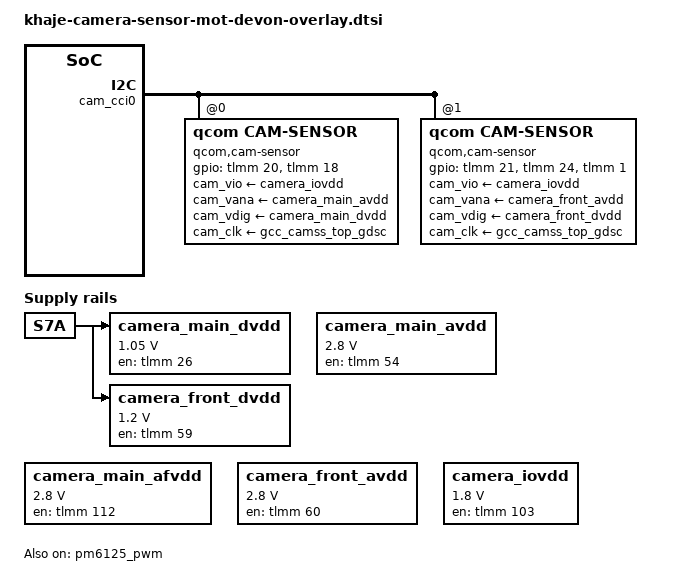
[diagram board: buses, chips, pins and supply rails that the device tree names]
#include <dt-bindings/clock/qcom,gcc-khaje.h>
#include <dt-bindings/msm/msm-camera.h>

&tlmm {
	cam_sensor_mclk0_active: cam_sensor_mclk0_active {
		/* MCLK 0*/
		mux {
			pins = "gpio20";
			function = "cam_mclk";
		};

		config {
			pins = "gpio20";
			bias-disable;
			drive-strength = <2>;
		};
	};

	cam_sensor_mclk0_suspend: cam_sensor_mclk0_suspend {
		/* MCLK 0*/
		mux {
			pins = "gpio20";
			function = "cam_mclk";
		};

		config {
			pins = "gpio20";
			bias-pull-down;
			drive-strength = <2>;
		};
	};

	cam_sensor_mclk1_active: cam_sensor_mclk1_active {
		mux {
			pins = "gpio21";
			function = "cam_mclk";
		};

		config {
			pins = "gpio21";
			bias-disable; /* No PULL */
			drive-strength = <2>; /* 2 MA */
		};
	};

	cam_sensor_mclk1_suspend: cam_sensor_mclk1_suspend {
		mux {
			pins = "gpio21";
			function = "cam_mclk";
		};

		config {
			pins = "gpio21";
			bias-pull-down;
			drive-strength = <2>; /* 2 MA */
		};
	};

	cam_sensor_rear0_reset_active: cam_sensor_rear0_reset_active {
		mux {
			pins = "gpio18";
			function = "gpio";
		};

		config {
			pins = "gpio18";
			bias-disable; /* No PULL */
			drive-strength = <2>;
		};
	};

	cam_sensor_rear0_reset_suspend: cam_sensor_rear0_reset_suspend {
		mux {
			pins = "gpio18";
			function = "gpio";
		};

		config {
			pins = "gpio18";
			bias-pull-down; /* PULL DOWN */
			drive-strength = <2>;
			output-low;
		};
	};

	cam_sensor_front_reset_active: cam_sensor_front_reset_active {
		mux {
			pins = "gpio24" , "gpio1";
			function = "gpio";
		};

		config {
			pins = "gpio24" , "gpio1";
			bias-disable; /* No PULL */
			drive-strength = <2>;
		};
	};

	cam_sensor_front_reset_suspend: cam_sensor_front_reset_suspend {
		mux {
			pins = "gpio24" , "gpio1";
			function = "gpio";
		};

		config {
			pins = "gpio24" , "gpio1";
			bias-pull-down; /* PULL DOWN */
			drive-strength = <2>;
			output-low;
		};
	};

	cam_main_avdd_active: cam_main_avdd_active {
		/* MAIN AVDD EN */
		mux {
			pins = "gpio54";
			function = "gpio";
		};

		config {
			pins = "gpio54";
			bias-disable; /* No PULL */
			drive-strength = <2>; /* 2 MA */
		};
	};

	cam_main_avdd_suspend: cam_main_avdd_suspend {
		mux {
			pins = "gpio54";
			function = "gpio";
		};

		config {
			pins = "gpio54";
			bias-pull-down; /* PULL DOWN */
			drive-strength = <2>; /* 2 MA */
			output-low;
		};
	};

	cam_main_dvdd_active: cam_main_dvdd_active {
		/* MAIN DVDD EN */
		mux {
			pins = "gpio26";
			function = "gpio";
		};

		config {
			pins = "gpio26";
			bias-disable; /* No PULL */
			drive-strength = <2>; /* 2 MA */
		};
	};

	cam_main_dvdd_suspend: cam_main_dvdd_suspend {
		mux {
			pins = "gpio26";
			function = "gpio";
		};

		config {
			pins = "gpio26";
			bias-pull-down; /* PULL DOWN */
			drive-strength = <2>; /* 2 MA */
			output-low;
		};
	};

	cam_main_afvdd_active: cam_main_afvdd_active {
		/* MAIN AFVDD EN */
		mux {
			pins = "gpio112";
			function = "gpio";
		};

		config {
			pins = "gpio112";
			bias-disable; /* No PULL */
			drive-strength = <2>; /* 2 MA */
		};
	};

	cam_main_afvdd_suspend: cam_main_afvdd_suspend {
		mux {
			pins = "gpio112";
			function = "gpio";
		};

		config {
			pins = "gpio112";
			bias-pull-down; /* PULL DOWN */
			drive-strength = <2>; /* 2 MA */
			output-low;
		};
	};

	cam_front_avdd_active: cam_front_avdd_active {
		/* FRONT AVDD EN */
		mux {
			pins = "gpio54";
			function = "gpio";
		};

		config {
			pins = "gpio54";
			bias-disable; /* No PULL */
			drive-strength = <2>; /* 2 MA */
		};
	};

	cam_front_avdd_suspend: cam_front_avdd_suspend {
		mux {
			pins = "gpio54";
			function = "gpio";
		};

		config {
			pins = "gpio54";
			bias-pull-down; /* PULL DOWN */
			drive-strength = <2>; /* 2 MA */
			output-low;
		};
	};

	cam_front_dvdd_active: cam_front_dvdd_active {
		/* FRONT DVDD EN */
		mux {
			pins = "gpio60";
			function = "gpio";
		};

		config {
			pins = "gpio60";
			bias-disable; /* No PULL */
			drive-strength = <2>; /* 2 MA */
		};
	};

	cam_front_dvdd_suspend: cam_front_dvdd_suspend {
		mux {
			pins = "gpio60";
			function = "gpio";
		};

		config {
			pins = "gpio60";
			bias-pull-down; /* PULL DOWN */
			drive-strength = <2>; /* 2 MA */
			output-low;
		};
	};

	cam_iovdd_active: cam_iovdd_active {
		/* IOVDD EN */
		mux {
			pins = "gpio103";
			function = "gpio";
		};

		config {
			pins = "gpio103";
			bias-disable; /* No PULL */
			drive-strength = <2>; /* 2 MA */
		};
	};

	cam_iovdd_suspend: cam_iovdd_suspend {
		mux {
			pins = "gpio103";
			function = "gpio";
		};

		config {
			pins = "gpio103";
			bias-pull-down; /* PULL DOWN */
			drive-strength = <2>; /* 2 MA */
			output-low;
		};
	};

};

&pm6125_pwm {
	status = "ok";
};

&soc {

	camera_main_avdd: gpio-regulator@0 {
		compatible = "regulator-fixed";
		reg = <0x00 0x00>;
		regulator-name = "camera_main_avdd";
		regulator-min-microvolt = <2800000>;
		regulator-max-microvolt = <2800000>;
		regulator-enable-ramp-delay = <233>;
		enable-active-high;
		gpio = <&tlmm 54 0>;
		pinctrl-names = "default";
		pinctrl-0 = <&cam_main_avdd_active>;
		pinctrl-1 = <&cam_main_avdd_suspend>;
		//vin-supply = <&VPH_PWR>;
	};

	camera_main_dvdd: gpio-regulator@1 {
		compatible = "regulator-fixed";
		reg = <0x01 0x00>;
		regulator-name = "camera_main_dvdd";
		regulator-min-microvolt = <1050000>;
		regulator-max-microvolt = <1050000>;
		regulator-enable-ramp-delay = <233>;
		enable-active-high;
		gpio = <&tlmm 26 0>;
		pinctrl-names = "default";
		pinctrl-0 = <&cam_main_dvdd_active>;
		pinctrl-1 = <&cam_main_dvdd_suspend>;
		vin-supply = <&S7A>;
	};

	camera_main_afvdd: gpio-regulator@2 {
		compatible = "regulator-fixed";
		reg = <0x02 0x00>;
		regulator-name = "camera_main_afvdd";
		regulator-min-microvolt = <2800000>;
		regulator-max-microvolt = <2800000>;
		regulator-enable-ramp-delay = <233>;
		enable-active-high;
		gpio = <&tlmm 112 0>;
		pinctrl-names = "default";
		pinctrl-0 = <&cam_main_afvdd_active>;
		pinctrl-1 = <&cam_main_afvdd_suspend>;
		//vin-supply = <&VPH_PWR>;
	};

	camera_front_avdd: gpio-regulator@3 {
		compatible = "regulator-fixed";
		reg = <0x03 0x00>;
		regulator-name = "camera_front_avdd";
		regulator-min-microvolt = <2800000>;
		regulator-max-microvolt = <2800000>;
		regulator-enable-ramp-delay = <233>;
		enable-active-high;
		gpio = <&tlmm 60 0>;
		pinctrl-names = "default";
		pinctrl-0 = <&cam_front_avdd_active>;
		pinctrl-1 = <&cam_front_avdd_suspend>;
		//vin-supply = <&VPH_PWR>;
	};

	camera_front_dvdd: gpio-regulator@4 {
		compatible = "regulator-fixed";
		reg = <0x04 0x00>;
		regulator-name = "camera_front_dvdd";
		regulator-min-microvolt = <1200000>;
		regulator-max-microvolt = <1200000>;
		regulator-enable-ramp-delay = <233>;
		enable-active-high;
		gpio = <&tlmm 59 0>;
		pinctrl-names = "default";
		pinctrl-0 = <&cam_front_dvdd_active>;
		pinctrl-1 = <&cam_front_dvdd_suspend>;
		vin-supply = <&S7A>;
	};

	camera_iovdd: gpio-regulator@5 {
		compatible = "regulator-fixed";
		reg = <0x05 0x00>;
		regulator-name = "camera_iovdd";
		regulator-min-microvolt = <1800000>;
		regulator-max-microvolt = <1800000>;
		regulator-enable-ramp-delay = <233>;
		enable-active-high;
		gpio = <&tlmm 103 0>;
		pinctrl-names = "default";
		pinctrl-0 = <&cam_iovdd_active>;
		pinctrl-1 = <&cam_iovdd_suspend>;
		//vin-supply = <&VPH_PWR>;
	};
};

&cam_cci0 {
	 /* main : JN1*/
	qcom,cam-sensor@0 {
		cell-index = <0>;
		compatible = "qcom,cam-sensor";
		csiphy-sd-index = <0>;
		sensor-position-roll = <90>;
		sensor-position-pitch = <0>;
		sensor-position-yaw = <180>;
		//led-flash-src = <&led_flash_rear_devon>;
		//eeprom-src = <&eeprom_main>;
		//actuator-src = <&actuator_rear>;
		//cam_vaf-supply = <&camera_main_afvdd>;
		cam_vio-supply = <&camera_iovdd>;
		cam_vana-supply = <&camera_main_avdd>;
		cam_vdig-supply = <&camera_main_dvdd>;
		cam_clk-supply = <&gcc_camss_top_gdsc>;
		regulator-names ="cam_vio", "cam_vana", "cam_vdig",
			"cam_clk";
		rgltr-cntrl-support;
		pwm-switch;
		rgltr-min-voltage = <1800000 2800000 1050000 0>;
		rgltr-max-voltage = <1800000 2800000 1050000 0>;
		rgltr-load-current = <120000 80000 1200000 0>;
		gpio-no-mux = <0>;
		pinctrl-names = "cam_default", "cam_suspend";
		pinctrl-0 = <&cam_sensor_mclk0_active
				&cam_sensor_rear0_reset_active>;
		pinctrl-1 = <&cam_sensor_mclk0_suspend
				&cam_sensor_rear0_reset_suspend>;
		gpios = <&tlmm 20 0>,
			<&tlmm 18 0>;
		gpio-reset = <1>;
		gpio-req-tbl-num = <0 1>;
		gpio-req-tbl-flags = <1 0>;
		gpio-req-tbl-label = "CAMIF_MCLK0",
					"CAM_RESET0";
		cci-master = <0>;
		status = "ok";
		clocks = <&gcc GCC_CAMSS_MCLK0_CLK>;
		clock-names = "cam_clk";
		clock-cntl-level = "turbo";
		clock-rates = <24000000>;
	};

	/*front*/
	 qcom,cam-sensor@1 {
		cell-index = <1>;
		compatible = "qcom,cam-sensor";
		csiphy-sd-index = <2>;
		sensor-position-roll = <270>;
		sensor-position-pitch = <0>;
		sensor-position-yaw = <180>;
		//eeprom-src = <&eeprom_front>;
		cam_vio-supply = <&camera_iovdd>;
		cam_vana-supply = <&camera_front_avdd>;
		cam_vdig-supply = <&camera_front_dvdd>;
		cam_clk-supply = <&gcc_camss_top_gdsc>;
		regulator-names = "cam_vio", "cam_vana", "cam_vdig",
			"cam_clk";
		rgltr-cntrl-support;
		pwm-switch;
		rgltr-min-voltage = <1800000 2800000 1200000 0>;
		rgltr-max-voltage = <1800000 2800000 1200000 0>;
		rgltr-load-current = <120000 80000 1200000 0>;
		gpio-no-mux = <0>;
		pinctrl-names = "cam_default", "cam_suspend";
		pinctrl-0 = <&cam_sensor_mclk1_active
					&cam_sensor_front_reset_active>;
		pinctrl-1 = <&cam_sensor_mclk1_suspend
					&cam_sensor_front_reset_suspend>;
		gpios = <&tlmm 21 0>,
				<&tlmm 24 0>,
				<&tlmm 1 0>;
		gpio-reset = <1>;
		gpio-custom1 = <2>
		gpio-req-tbl-num = <0 1 2>;
		gpio-req-tbl-flags = <1 0 0>;
		gpio-req-tbl-label = "CAMIF_MCLK1",
					"CAM_RESET1",
					"CAM_MIPI_SEL";
		cci-master = <1>;
		status = "ok";
		clocks = <&gcc GCC_CAMSS_MCLK1_CLK>;
		clock-names = "cam_clk";
		clock-cntl-level = "turbo";
		clock-rates = <24000000>;
	};
};
